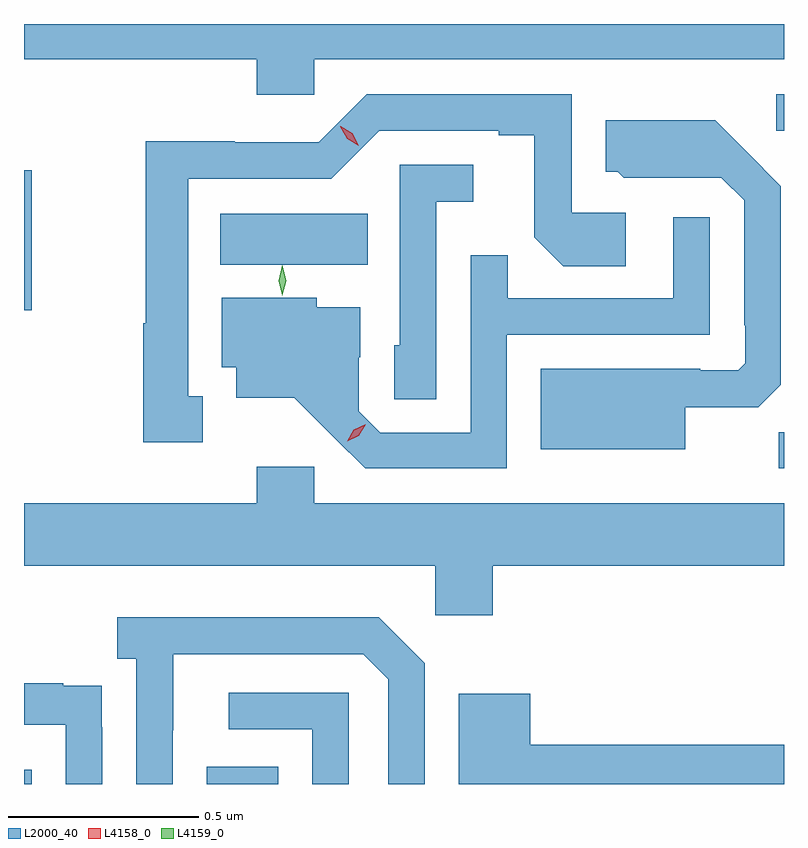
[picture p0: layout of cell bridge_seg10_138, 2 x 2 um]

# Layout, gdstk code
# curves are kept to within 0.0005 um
import gdstk
lib = gdstk.Library(unit=1e-6, precision=1e-09)
def R(c, l, rs):  # rectangles x0, y0, x1, y1
    for r in rs: c.add(gdstk.rectangle(r[:2], r[2:], *l))
def P(c, l, *ps):  # polygons
    for p in ps: c.add(gdstk.Polygon(p, *l))
L2000_40 = (2000, 40)
L4158_0 = (4158, 0)
L4159_0 = (4159, 0)

bridge_seg10_138 = lib.new_cell('bridge_seg10_138')
R(bridge_seg10_138, L2000_40, [(348.418,1302.405,348.439,1302.442), (348.899,1302.405,349.087,1302.451), (350.404,1303.236,350.418,1303.331), (348.418,1303.652,348.438,1304.02), (348.935,1303.772,349.322,1303.906), (350.397,1304.124,350.418,1304.22)])
P(bridge_seg10_138, L2000_40, [(349.182,1304.312),(350.418,1304.312),(350.418,1304.405),(348.418,1304.405),(348.418,1304.312),(349.031,1304.312),(349.031,1304.219),(349.182,1304.219)],
  [(348.889,1303.425),(348.85,1303.425),(348.85,1303.998),(349.227,1303.998),(349.353,1304.124),(349.667,1304.124),(349.667,1304.112),(349.761,1304.112),(349.761,1303.844),(349.837,1303.768),(350.002,1303.768),(350.002,1303.908),(349.86,1303.908),(349.86,1304.22),(349.32,1304.22),(349.194,1304.094),(348.972,1304.094),(348.972,1304.096),(348.739,1304.096),(348.739,1303.617),(348.732,1303.617),(348.732,1303.305),(348.889,1303.305)],
  [(350.158,1303.397),(350.35,1303.397),(350.409,1303.456),(350.409,1303.978),(350.237,1304.152),(349.949,1304.152),(349.949,1304.016),(349.98,1304.016),(349.996,1304),(350.13,1304),(350.13,1304.001),(350.253,1304.001),(350.313,1303.941),(350.313,1303.612),(350.316,1303.612),(350.316,1303.512),(350.298,1303.494),(350.198,1303.494),(350.198,1303.498),(349.778,1303.498),(349.778,1303.286),(350.158,1303.286)],
  [(349.503,1303.937),(349.6,1303.937),(349.6,1304.034),(349.407,1304.034),(349.407,1303.56),(349.392,1303.56),(349.392,1303.417),(349.503,1303.417)],
  [(349.689,1303.587),(350.223,1303.587),(350.223,1303.897),(350.127,1303.897),(350.127,1303.683),(349.691,1303.683),(349.691,1303.796),(349.593,1303.796),(349.593,1303.329),(349.356,1303.329),(349.299,1303.386),(349.299,1303.528),(349.303,1303.528),(349.303,1303.66),(349.188,1303.66),(349.188,1303.684),(348.938,1303.684),(348.938,1303.502),(348.977,1303.502),(348.977,1303.421),(349.129,1303.421),(349.316,1303.236),(349.689,1303.236)],
  [(349.652,1302.98),(350.418,1302.98),(350.418,1303.144),(349.182,1303.144),(349.182,1303.24),(349.031,1303.24),(349.031,1303.144),(348.418,1303.144),(348.418,1302.98),(349.5,1302.98),(349.5,1302.849),(349.652,1302.849)],
  [(348.81,1302.547),(348.811,1302.547),(348.811,1302.747),(349.311,1302.747),(349.377,1302.681),(349.377,1302.405),(349.473,1302.405),(349.473,1302.723),(349.352,1302.844),(348.663,1302.844),(348.663,1302.734),(348.714,1302.734),(348.714,1302.405),(348.81,1302.405)],
  [(348.624,1302.554),(348.623,1302.554),(348.623,1302.663),(348.521,1302.663),(348.521,1302.67),(348.418,1302.67),(348.418,1302.561),(348.528,1302.561),(348.528,1302.405),(348.624,1302.405)],
  [(349.272,1302.645),(348.957,1302.645),(348.957,1302.549),(349.176,1302.549),(349.176,1302.405),(349.272,1302.405)],
  [(350.418,1302.508),(349.75,1302.508),(349.75,1302.643),(349.562,1302.643),(349.562,1302.405),(350.418,1302.405)])
P(bridge_seg10_138, L4158_0, [(349.268,1303.307),(349.268,1303.307),(349.286,1303.337),(349.317,1303.352),(349.317,1303.352),(349.317,1303.352),(349.299,1303.322),(349.268,1303.307)],
  [(349.299,1304.084),(349.268,1304.103),(349.25,1304.135),(349.25,1304.136),(349.251,1304.136),(349.282,1304.117),(349.299,1304.084),(349.299,1304.084)])
P(bridge_seg10_138, L4159_0, [(349.097,1303.69),(349.097,1303.691),(349.088,1303.73),(349.098,1303.77),(349.098,1303.77),(349.098,1303.77),(349.108,1303.73),(349.097,1303.691)])

lib.write_gds('bridge_seg10_138.gds')
